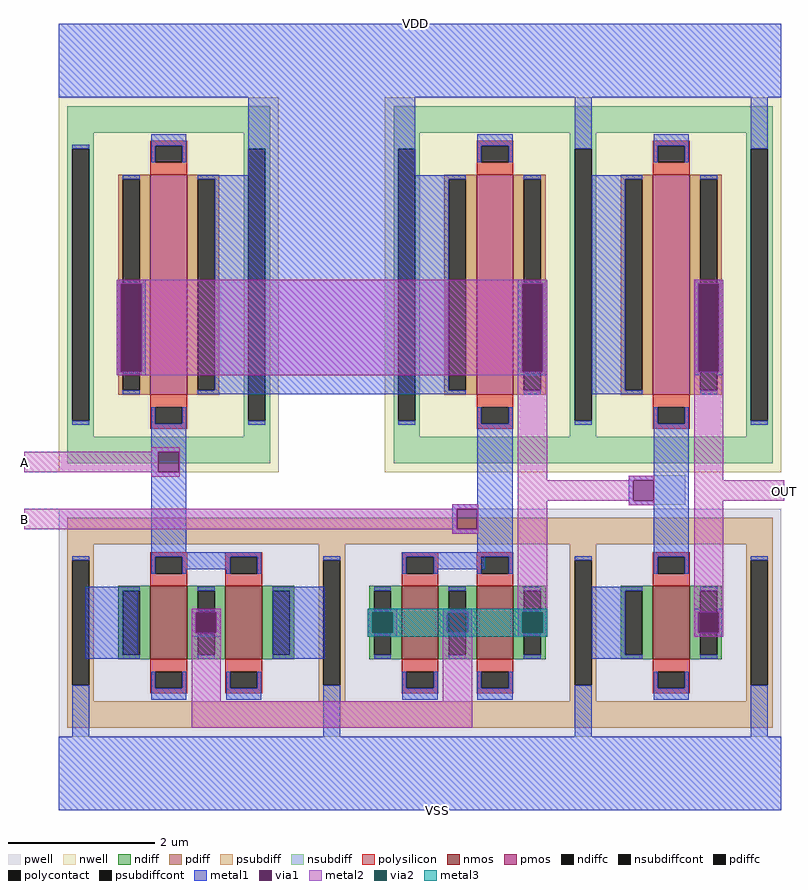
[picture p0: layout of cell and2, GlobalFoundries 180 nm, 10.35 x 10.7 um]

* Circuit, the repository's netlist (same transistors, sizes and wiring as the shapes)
* NGSPICE file created from and2.ext - technology: gf180mcuD

.subckt inv2 in vdd out vss
X0 out in vdd vdd pfet_03v3 ad=1.32p pd=6.88u as=1.32p ps=6.88u w=3u l=0.5u
X1 out in vss vss nfet_03v3 ad=0.44p pd=2.88u as=0.44p ps=2.88u w=1u l=0.5u
.ends

.subckt nand2 VDD OUT A B VSS
X0 a_1640_n650# A OUT VSS nfet_03v3 ad=0.26p pd=1.52u as=0.44p ps=2.88u w=1u l=0.5u
X1 VDD B OUT VDD pfet_03v3 ad=1.32p pd=6.88u as=1.32p ps=6.88u w=3u l=0.5u
X2 VSS B a_1640_n650# VSS nfet_03v3 ad=0.44p pd=2.88u as=0.26p ps=1.52u w=1u l=0.5u
X3 OUT A VDD VDD pfet_03v3 ad=1.32p pd=6.88u as=1.32p ps=6.88u w=3u l=0.5u
X4 OUT A a_1640_n650# VSS nfet_03v3 ad=0.44p pd=2.88u as=0.26p ps=1.52u w=1u l=0.5u
X5 a_1640_n650# B VSS VSS nfet_03v3 ad=0.26p pd=1.52u as=0.44p ps=2.88u w=1u l=0.5u
.ends

.subckt and2 VDD OUT A B VSS
Xinv2_0 inv2_0/in VDD OUT VSS inv2
Xnand2_0 VDD inv2_0/in B A VSS nand2
.ends

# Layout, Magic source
magic
tech gf180mcuD
magscale 1 10
<< metal1 >>
rect -1553 2125 415 2130
rect -1553 -10 415 -5
<< metal2 >>
rect -1647 910 -1640 966
rect 415 832 422 888
rect -1647 754 -1640 810
use inv2  inv2_0
transform 1 0 -1435 0 1 1360
box 1250 -1370 1850 770
use nand2  nand2_0
transform 1 0 -2843 0 1 1050
box 1203 -1060 2778 1080
<< labels >>
rlabel metal1 -580 2130 -580 2130 1 VDD
port 0 n
rlabel metal2 422 858 422 858 3 OUT
port 1 e
rlabel metal2 -1647 937 -1647 937 7 A
port 2 w
rlabel metal2 -1647 782 -1647 782 7 B
port 3 w
rlabel metal1 -521 -10 -521 -10 5 VSS
port 4 s
<< end >>

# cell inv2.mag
magic
tech gf180mcuD
magscale 1 10
<< nwell >>
rect 1250 -450 1850 570
<< pwell >>
rect 1502 -539 1588 -459
rect 1250 -1170 1850 -550
<< nmos >>
rect 1500 -960 1600 -760
<< pmos >>
rect 1500 -240 1600 360
<< ndiff >>
rect 1412 -773 1500 -760
rect 1412 -947 1425 -773
rect 1471 -947 1500 -773
rect 1412 -960 1500 -947
rect 1600 -773 1688 -760
rect 1600 -947 1629 -773
rect 1675 -947 1688 -773
rect 1600 -960 1688 -947
<< pdiff >>
rect 1412 347 1500 360
rect 1412 -227 1425 347
rect 1471 -227 1500 347
rect 1412 -240 1500 -227
rect 1600 347 1688 360
rect 1600 -227 1629 347
rect 1675 -227 1688 347
rect 1600 -240 1688 -227
<< ndiffc >>
rect 1425 -947 1471 -773
rect 1629 -947 1675 -773
<< pdiffc >>
rect 1425 -227 1471 347
rect 1629 -227 1675 347
<< psubdiff >>
rect 1274 -646 1826 -574
rect 1274 -690 1346 -646
rect 1274 -1030 1287 -690
rect 1333 -1030 1346 -690
rect 1754 -690 1826 -646
rect 1274 -1074 1346 -1030
rect 1754 -1030 1767 -690
rect 1813 -1030 1826 -690
rect 1754 -1074 1826 -1030
rect 1274 -1146 1826 -1074
<< nsubdiff >>
rect 1274 474 1826 546
rect 1274 430 1346 474
rect 1274 -310 1287 430
rect 1333 -310 1346 430
rect 1754 430 1826 474
rect 1274 -354 1346 -310
rect 1754 -310 1767 430
rect 1813 -310 1826 430
rect 1754 -354 1826 -310
rect 1274 -426 1826 -354
<< psubdiffcont >>
rect 1287 -1030 1333 -690
rect 1767 -1030 1813 -690
<< nsubdiffcont >>
rect 1287 -310 1333 430
rect 1767 -310 1813 430
<< polysilicon >>
rect 1500 439 1600 452
rect 1500 393 1513 439
rect 1587 393 1600 439
rect 1500 360 1600 393
rect 1500 -273 1600 -240
rect 1500 -319 1513 -273
rect 1587 -319 1600 -273
rect 1500 -332 1600 -319
rect 1500 -681 1600 -668
rect 1500 -727 1513 -681
rect 1587 -727 1600 -681
rect 1500 -760 1600 -727
rect 1500 -993 1600 -960
rect 1500 -1039 1513 -993
rect 1587 -1039 1600 -993
rect 1500 -1052 1600 -1039
<< polycontact >>
rect 1513 393 1587 439
rect 1513 -319 1587 -273
rect 1513 -727 1587 -681
rect 1513 -1039 1587 -993
<< metal1 >>
rect 1250 570 1850 770
rect 1287 430 1333 570
rect 1502 439 1598 470
rect 1502 393 1513 439
rect 1587 393 1598 439
rect 1767 430 1813 570
rect 1333 347 1471 358
rect 1333 -227 1425 347
rect 1629 347 1675 358
rect 1612 63 1629 73
rect 1675 63 1692 73
rect 1612 -177 1624 63
rect 1680 -177 1692 63
rect 1612 -187 1629 -177
rect 1333 -238 1471 -227
rect 1675 -187 1692 -177
rect 1629 -238 1675 -227
rect 1287 -321 1333 -310
rect 1502 -319 1513 -273
rect 1587 -319 1598 -273
rect 1502 -460 1598 -319
rect 1767 -321 1813 -310
rect 1434 -472 1598 -460
rect 1434 -528 1446 -472
rect 1502 -528 1598 -472
rect 1434 -540 1598 -528
rect 1287 -690 1333 -679
rect 1502 -681 1598 -540
rect 1502 -727 1513 -681
rect 1587 -727 1598 -681
rect 1767 -690 1813 -679
rect 1333 -773 1471 -762
rect 1333 -947 1425 -773
rect 1629 -773 1675 -762
rect 1612 -832 1629 -822
rect 1675 -832 1692 -822
rect 1612 -888 1624 -832
rect 1680 -888 1692 -832
rect 1612 -898 1629 -888
rect 1333 -958 1471 -947
rect 1675 -898 1692 -888
rect 1629 -958 1675 -947
rect 1287 -1170 1333 -1030
rect 1502 -1039 1513 -993
rect 1587 -1039 1598 -993
rect 1502 -1070 1598 -1039
rect 1767 -1170 1813 -1030
rect 1250 -1370 1850 -1170
<< via1 >>
rect 1624 -177 1629 63
rect 1629 -177 1675 63
rect 1675 -177 1680 63
rect 1446 -528 1502 -472
rect 1624 -888 1629 -832
rect 1629 -888 1675 -832
rect 1675 -888 1680 -832
<< metal2 >>
rect 1612 63 1692 73
rect 1612 -177 1624 63
rect 1680 -177 1692 63
rect 1434 -472 1504 -460
rect 1250 -528 1446 -472
rect 1502 -528 1504 -472
rect 1434 -540 1504 -528
rect 1612 -472 1692 -177
rect 1612 -528 1850 -472
rect 1612 -832 1692 -528
rect 1612 -888 1624 -832
rect 1680 -888 1692 -832
rect 1612 -898 1692 -888
<< labels >>
rlabel metal2 1250 -499 1250 -499 7 in
port 0 w
rlabel metal1 1545 770 1545 770 1 vdd
port 1 n
rlabel metal2 1850 -499 1850 -499 3 out
port 2 e
rlabel metal1 1555 -1370 1555 -1370 5 vss
port 3 s
<< end >>

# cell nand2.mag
magic
tech gf180mcuD
magscale 1 10
<< pwell >>
rect 1627 -371 1644 -368
rect 1746 -371 1842 -358
rect 1888 -369 1923 -357
rect 2226 -371 2323 -358
<< metal1 >>
rect 1290 880 2778 1080
rect 1542 749 1638 780
rect 1807 668 2261 880
rect 2430 749 2526 780
rect 1448 373 1528 383
rect 1448 133 1460 373
rect 1516 133 1528 373
rect 1448 123 1528 133
rect 1715 72 2353 668
rect 2540 373 2620 383
rect 2540 133 2552 373
rect 2608 133 2620 373
rect 2540 123 2620 133
rect 1542 -84 1638 -9
rect 1542 -140 1562 -84
rect 1618 -140 1638 -84
rect 1542 -358 1638 -140
rect 2430 -228 2526 -9
rect 2362 -240 2526 -228
rect 2362 -296 2374 -240
rect 2430 -296 2526 -240
rect 2362 -308 2526 -296
rect 2430 -358 2526 -308
rect 1542 -371 1842 -358
rect 2226 -371 2526 -358
rect 1638 -404 1746 -371
rect 2322 -404 2452 -371
rect 1363 -648 1505 -452
rect 1652 -522 1732 -512
rect 1652 -578 1664 -522
rect 1720 -578 1732 -522
rect 1652 -588 1732 -578
rect 1873 -648 2015 -452
rect 2132 -522 2212 -512
rect 2132 -578 2144 -522
rect 2200 -578 2212 -522
rect 2132 -588 2212 -578
rect 2336 -522 2416 -512
rect 2336 -578 2348 -522
rect 2404 -578 2416 -522
rect 2336 -588 2416 -578
rect 2540 -522 2620 -512
rect 2540 -578 2552 -522
rect 2608 -578 2620 -522
rect 2540 -588 2620 -578
rect 1327 -860 1373 -731
rect 1542 -760 1638 -729
rect 1746 -760 1842 -729
rect 2011 -860 2057 -731
rect 2226 -760 2322 -729
rect 2430 -760 2526 -729
rect 2695 -860 2741 -720
rect 1290 -1060 2778 -860
<< via1 >>
rect 1460 133 1516 373
rect 2552 133 2608 373
rect 1562 -140 1618 -84
rect 2374 -296 2430 -240
rect 1664 -578 1720 -522
rect 2144 -578 2200 -522
rect 2348 -578 2404 -522
rect 2552 -578 2608 -522
<< metal2 >>
rect 1448 373 2620 383
rect 1448 133 1460 373
rect 1516 133 2552 373
rect 2608 133 2620 373
rect 1448 123 2620 133
rect 1542 -84 1620 -72
rect 1203 -140 1562 -84
rect 1618 -140 1620 -84
rect 1542 -152 1620 -140
rect 2540 -162 2620 123
rect 2540 -218 2778 -162
rect 2362 -240 2432 -228
rect 1203 -296 2374 -240
rect 2430 -296 2432 -240
rect 2362 -308 2432 -296
rect 1652 -522 1732 -512
rect 1652 -578 1664 -522
rect 1720 -578 1732 -522
rect 1652 -764 1732 -578
rect 2132 -522 2212 -512
rect 2132 -578 2144 -522
rect 2200 -578 2212 -522
rect 2132 -588 2212 -578
rect 2336 -522 2416 -512
rect 2336 -578 2348 -522
rect 2404 -578 2416 -522
rect 2336 -764 2416 -578
rect 2540 -522 2620 -218
rect 2540 -578 2552 -522
rect 2608 -578 2620 -522
rect 2540 -588 2620 -578
rect 1652 -836 2416 -764
<< via2 >>
rect 2144 -578 2200 -522
rect 2552 -578 2608 -522
<< metal3 >>
rect 2132 -522 2620 -512
rect 2132 -578 2144 -522
rect 2200 -578 2552 -522
rect 2608 -578 2620 -522
rect 2132 -588 2620 -578
use nfet_03v3_EMCFTP  nfet_03v3_EMCFTP_0
transform 1 0 2376 0 1 -550
box -402 -310 402 310
use pfet_03v3_LJVJK4  pfet_03v3_LJVJK4_0
transform 1 0 2478 0 1 370
box -300 -510 300 510
use nfet_03v3_EMCFTP  XM1
transform 1 0 1692 0 1 -550
box -402 -310 402 310
use pfet_03v3_LJVJK4  XM2
transform 1 0 1590 0 1 370
box -300 -510 300 510
<< labels >>
rlabel metal1 2026 1080 2026 1080 1 VDD
port 0 n
rlabel metal2 2778 -190 2778 -190 3 OUT
port 1 e
rlabel metal2 1203 -271 1203 -271 7 A
port 2 w
rlabel metal2 1203 -113 1203 -113 7 B
port 3 w
rlabel metal1 2035 -1060 2035 -1060 5 VSS
port 4 s
<< end >>

# cell nfet_03v3_EMCFTP: kit device nfet_03v3, w 1.0 l 0.5 m 1 nf 2 diffcov 100 polycov 100 guard 1 glc 1 grc 1 gtc 0 gbc 0 tbcov 100 rlcov 100 topc 1 botc 1 poverlap 0 doverlap 1 lmin 0.28 wmin 0.22 class mosfet full_metal 0 compatible {nfet_03v3 nfet_06v0 nfet_06v0_nvt}

# cell pfet_03v3_LJVJK4: kit device pfet_03v3, w 3.0 l 0.5 m 1 nf 1 diffcov 100 polycov 100 guard 1 glc 1 grc 1 gtc 0 gbc 0 tbcov 100 rlcov 100 topc 1 botc 1 poverlap 0 doverlap 1 lmin 0.28 wmin 0.22 class mosfet full_metal 0 compatible {pfet_03v3 pfet_06v0}
